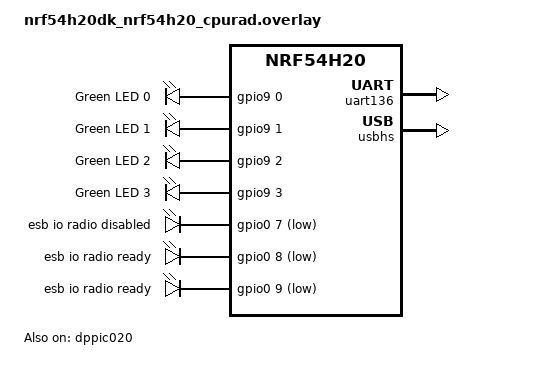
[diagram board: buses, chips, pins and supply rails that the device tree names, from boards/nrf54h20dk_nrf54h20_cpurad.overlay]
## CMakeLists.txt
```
#
# Copyright (c) 2018 Nordic Semiconductor
#
# SPDX-License-Identifier: LicenseRef-Nordic-5-Clause
#
cmake_minimum_required(VERSION 3.20.0)

find_package(Zephyr REQUIRED HINTS $ENV{ZEPHYR_BASE})
project(NONE)

include(${ZEPHYR_BASE}/samples/subsys/usb/common/common.cmake)

FILE(GLOB app_sources src/*.c)
# NORDIC SDK APP START
target_sources(app PRIVATE ${app_sources})

zephyr_code_relocate(FILES src/testme.c LOCATION MYTCM NOKEEP)
zephyr_code_relocate(FILES src/main.c LOCATION MYTCM NOKEEP)

# NORDIC SDK APP END
```

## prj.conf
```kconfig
#
# Copyright (c) 2019 Nordic Semiconductor ASA
#
# SPDX-License-Identifier: LicenseRef-Nordic-5-Clause
#
CONFIG_NCS_SAMPLES_DEFAULTS=y
CONFIG_ESB=y
CONFIG_DK_LIBRARY=y
CONFIG_ESB_FAST_SWITCHING=y
CONFIG_ESB_FAST_CHANNEL_SWITCHING=y
CONFIG_ESB_PRX_TX_LENGTH=5


# USB STACK NEXT
CONFIG_USB_DEVICE_STACK_NEXT=y
CONFIG_USBD_HID_SUPPORT=y
#CONFIG_USBD_HID_IN_BUF_COUNT=1024
CONFIG_USBD_HID_IN_BUF_COUNT=256
CONFIG_USB_DEVICE_INITIALIZE_AT_BOOT=n
CONFIG_USBD_LOG_LEVEL_WRN=y
CONFIG_USBD_HID_LOG_LEVEL_WRN=y
CONFIG_UDC_DRIVER_LOG_LEVEL_WRN=y
CONFIG_UDC_BUF_COUNT=64
CONFIG_USBD_MAX_UDC_MSG=256

CONFIG_SAMPLE_USBD_PID=0x0006
CONFIG_SAMPLE_USBD_MANUFACTURER="Nordic Semiconductor"
CONFIG_SAMPLE_USBD_PRODUCT="nRF54LM20 HID"
CONFIG_NRFS_VBUS_DETECTOR_SERVICE_ENABLED=y

CONFIG_HWINFO=y
CONFIG_CLOCK_CONTROL=y
CONFIG_SPIN_VALIDATE=n
CONFIG_PM=n

# CPU usage
#CONFIG_LOG_BACKEND_UART=y
##CONFIG_LOG_BACKEND_RTT=y
#CONFIG_THREAD_ANALYZER=y
##CONFIG_THREAD_ANALYZER_USE_PRINTK=y
#CONFIG_THREAD_ANALYZER_AUTO=y
#CONFIG_THREAD_ANALYZER_AUTO_INTERVAL=5
#CONFIG_THREAD_NAME=y
#CONFIG_LOG_BUFFER_SIZE=12048
CONFIG_SPEED_OPTIMIZATIONS=y
CONFIG_ISR_TABLES_LOCAL_DECLARATION=y
CONFIG_LTO=y
```

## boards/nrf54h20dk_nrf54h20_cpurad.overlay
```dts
/*
 * Copyright (c) 2024 Nordic Semiconductor ASA
 *
 * SPDX-License-Identifier: LicenseRef-Nordic-5-Clause
 */

 / {
	leds {
		compatible = "gpio-leds";

		led0: led_0 {
			gpios = < &gpio9 0 GPIO_ACTIVE_HIGH >;
			label = "Green LED 0";
		};

		led1: led_1 {
			gpios = < &gpio9 1 GPIO_ACTIVE_HIGH >;
			label = "Green LED 1";
		};

		led2: led_2 {
			gpios = < &gpio9 2 GPIO_ACTIVE_HIGH >;
			label = "Green LED 2";
		};

		led3: led_3 {
			gpios = < &gpio9 3 GPIO_ACTIVE_HIGH >;
			label = "Green LED 3";
		};
	};

	aliases {
		led0 = &led0;
		led1 = &led1;
		led2 = &led2;
		led3 = &led3;
	};

	chosen {
		zephyr,console = &uart136;
	};

	hid_dev_0: hid_dev_0 {
		compatible = "zephyr,hid-device";
		interface-name = "HID0";
		protocol-code = "mouse";
		in-polling-period-us = <125>;
		in-report-size = <256>;
	};

	esb_gpio {
		compatible = "gpio-leds";
		esb_io_radio_disabled: esb-io-radio-disabled {
			gpios = <&gpio0 7 GPIO_ACTIVE_LOW>;
			label = "esb io radio disabled";
		};
		esb_io_radio_rx: esb-io-radio-rx {
			gpios = <&gpio0 8 GPIO_ACTIVE_LOW>;
			label = "esb io radio ready";
		};
		esb_io_radio_tx: esb-io-radio-tx {
			gpios = <&gpio0 9 GPIO_ACTIVE_LOW>;
			label = "esb io radio ready";
		};
	};

};

&gpio9 {
	status = "okay";
};

&gpio0 {
	status = "okay";
};

&gpiote130 {
	owned-channels = <0 1 2 3 4 5 6 7>;
	status = "okay";
};

&uart136 {
	status = "okay";
	memory-regions = <&cpurad_dma_region>;
};

&uart135 {
	status = "disabled";
};

&dppic020 {
	status = "okay";
	source-channels = < 0 1 2 3 4 5 >;
	sink-channels = < 6 7 8 9 10 11 >;
};
zephyr_udc0: &usbhs {
	status = "okay";
};
```

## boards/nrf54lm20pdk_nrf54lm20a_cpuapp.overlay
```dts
/*
 * Copyright (c) 2025 Nordic Semiconductor ASA
 *
 * SPDX-License-Identifier: LicenseRef-Nordic-5-Clause
 */

 / {
	hid_dev_0: hid_dev_0 {
		compatible = "zephyr,hid-device";
		//interface-name = "HID0";
		protocol-code = "mouse";
		in-polling-period-us = <125>;
		in-report-size = <256>;
	};
};
```

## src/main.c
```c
/*
 * Copyright (c) 2018 Nordic Semiconductor ASA
 *
 * SPDX-License-Identifier: LicenseRef-Nordic-5-Clause
 */
#include <zephyr/device.h>
#include <zephyr/devicetree.h>
#include <zephyr/drivers/clock_control.h>
#include <zephyr/drivers/clock_control/nrf_clock_control.h>
#if defined(NRF54L15_XXAA)
#include <hal/nrf_clock.h>
#endif /* defined(NRF54L15_XXAA) */
#include <zephyr/drivers/timer/nrf_grtc_timer.h>
#include <zephyr/usb/usb_device.h>
#include <zephyr/usb/usbd.h>
// #include <zephyr/usb/class/usb_hid.h>
#include <zephyr/usb/class/usbd_hid.h>
#include <zephyr/drivers/gpio.h>
#include <zephyr/irq.h>
#include <zephyr/logging/log.h>
#include <nrf.h>
#include <esb.h>
#include <zephyr/kernel.h>
#include <zephyr/types.h>
#include <dk_buttons_and_leds.h>
#if defined(CONFIG_CLOCK_CONTROL_NRF2)
#include <hal/nrf_lrcconf.h>
#endif
#include <nrf_erratas.h>
#if NRF54L_ERRATA_20_PRESENT
#include <hal/nrf_power.h>
#endif /* NRF54L_ERRATA_20_PRESENT */

#include <sample_usbd.h>

LOG_MODULE_REGISTER(esb_prx, CONFIG_ESB_PRX_APP_LOG_LEVEL);

/* Print cycle time, in microseconds */
#define PRINT_CYCLE     1000000

struct print_msg {
	uint32_t rep_cnt;
	uint32_t drop_cnt;
};

#define USB_HID_MSG_REPORT      0
#define USB_HID_MSG_TIMER       1

#define _USB_HID_BUF_ALIGN (UDC_BUF_ALIGN)
#define _USB_HID_BUF_SIZE  (ROUND_UP(4, UDC_BUF_GRANULARITY))

struct usb_hid_msg {
	uint32_t type;
	uint8_t report[4];//_USB_HID_BUF_SIZE];
}__aligned(_USB_HID_BUF_ALIGN);

static const uint8_t hid_report_desc[] = HID_MOUSE_REPORT_DESC(2);

static atomic_t usb_state = ATOMIC_INIT(0);
static K_SEM_DEFINE(report_sem, 0, 1);

static struct esb_payload rx_payload;
static struct esb_payload tx_payload = ESB_CREATE_PAYLOAD(0,
	0x10, 0x11, 0x12, 0x13, 0x14, 0x15, 0x16, 0x17);

K_MSGQ_DEFINE(print_msgq,
	      sizeof(struct print_msg),
	      1,
	      sizeof(uint32_t));

K_MSGQ_DEFINE(usb_hid_msgq,
	      sizeof(struct usb_hid_msg),
	      32,
	      _USB_HID_BUF_ALIGN);

static struct k_thread print_thread;

static K_THREAD_STACK_DEFINE(print_stack, 512);

static int32_t timer_chan;
static uint64_t timer_tick;

static int timer_target_set(void);


/* doc device msg-cb start */
static void msg_cb(struct usbd_context *const usbd_ctx,
		   const struct usbd_msg *const msg)
{
	LOG_INF("USBD message: %s", usbd_msg_type_string(msg->type));

	if (msg->type == USBD_MSG_CONFIGURATION) {
		LOG_INF("\tConfiguration value %d", msg->status);
	}

	if (usbd_can_detect_vbus(usbd_ctx)) {
		if (msg->type == USBD_MSG_VBUS_READY) {
			if (usbd_enable(usbd_ctx)) {
				LOG_ERR("Failed to enable device support");
			}
		}

		if (msg->type == USBD_MSG_VBUS_REMOVED) {
			if (usbd_disable(usbd_ctx)) {
				LOG_ERR("Failed to disable device support");
			}
		}
	}
}

void event_handler(struct esb_evt const *event)
{
	int err;

	switch (event->evt_id) {
	case ESB_EVENT_TX_SUCCESS:
		break;
	case ESB_EVENT_TX_FAILED:
		break;
	case ESB_EVENT_RX_RECEIVED:
		while (!esb_read_rx_payload(&rx_payload)) {
			struct usb_hid_msg msg;

			if (rx_payload.length >= sizeof(msg.report) &&
			    atomic_test_bit(&usb_state, 0)) {
				msg.type = USB_HID_MSG_REPORT;
				memcpy(msg.report,
				       rx_payload.data,
				       sizeof(msg.report));
				err = k_msgq_put(&usb_hid_msgq, &msg, K_NO_WAIT);
				if (err) {
				}
			}

			err = esb_write_payload(&tx_payload);
		}
        break;
	}
}

#if defined(CONFIG_CLOCK_CONTROL_NRF)
int clocks_start(void)
{
	int err;
	int res;
	struct onoff_manager *clk_mgr;
	struct onoff_client clk_cli;

	clk_mgr = z_nrf_clock_control_get_onoff(CLOCK_CONTROL_NRF_SUBSYS_HF);
	if (!clk_mgr) {
		LOG_ERR("Unable to get the Clock manager");
		return -ENXIO;
	}

	sys_notify_init_spinwait(&clk_cli.notify);

	err = onoff_request(clk_mgr, &clk_cli);
	if (err < 0) {
		LOG_ERR("Clock request failed: %d", err);
		return err;
	}

	do {
		err = sys_notify_fetch_result(&clk_cli.notify, &res);
		if (!err && res) {
			LOG_ERR("Clock could not be started: %d", res);
			return res;
		}
	} while (err);

#if NRF54L_ERRATA_20_PRESENT
	if (nrf54l_errata_20()) {
		nrf_power_task_trigger(NRF_POWER, NRF_POWER_TASK_CONSTLAT);
	}
#endif /* NRF54L_ERRATA_20_PRESENT */

	LOG_DBG("HF clock started");
	return 0;
}

#elif defined(CONFIG_CLOCK_CONTROL_NRF2)

int clocks_start(void)
{
	int err;
	int res;
	const struct device *radio_clk_dev =
		DEVICE_DT_GET_OR_NULL(DT_CLOCKS_CTLR(DT_NODELABEL(radio)));
	struct onoff_client radio_cli;

	/** Keep radio domain powered all the time to reduce latency. */
	nrf_lrcconf_poweron_force_set(NRF_LRCCONF010, NRF_LRCCONF_POWER_DOMAIN_1, true);

	sys_notify_init_spinwait(&radio_cli.notify);

	err = nrf_clock_control_request(radio_clk_dev, NULL, &radio_cli);

	do {
		err = sys_notify_fetch_result(&radio_cli.notify, &res);
		if (!err && res) {
			LOG_ERR("Clock could not be started: %d", res);
			return res;
		}
	} while (err == -EAGAIN);

	nrf_lrcconf_clock_always_run_force_set(NRF_LRCCONF000, 0, true);
	nrf_lrcconf_task_trigger(NRF_LRCCONF000, NRF_LRCCONF_TASK_CLKSTART_0);

	LOG_DBG("HF clock started");

	return 0;
}

#else
BUILD_ASSERT(false, "No Clock Control driver");
#endif /* defined(CONFIG_CLOCK_CONTROL_NRF2) */

int esb_initialize(void)
{
	int err;
	/* These are arbitrary default addresses. In end user products
	 * different addresses should be used for each set of devices.
	 */
	uint8_t base_addr_0[4] = {0xE7, 0xE7, 0xE7, 0xE7};
	uint8_t base_addr_1[4] = {0xC2, 0xC2, 0xC2, 0xC2};
	uint8_t addr_prefix[8] = {0xE7, 0xC2, 0xC3, 0xC4, 0xC5, 0xC6, 0xC7, 0xC8};

	struct esb_config config = ESB_DEFAULT_CONFIG;

	config.protocol = ESB_PROTOCOL_ESB_DPL;
	config.bitrate = ESB_BITRATE_4MBPS;
	config.mode = ESB_MODE_PRX;
	config.event_handler = event_handler;
	config.crc = ESB_CRC_16BIT;

	config.selective_auto_ack = false;
	if (IS_ENABLED(CONFIG_ESB_FAST_SWITCHING)) {
		config.use_fast_ramp_up = true;
	}

	err = esb_init(&config);
	if (err) {
		return err;
	}

	err = esb_set_base_address_0(base_addr_0);
	if (err) {
		return err;
	}

	err = esb_set_base_address_1(base_addr_1);
	if (err) {
		return err;
	}

	err = esb_set_prefixes(addr_prefix, ARRAY_SIZE(addr_prefix));
	if (err) {
		return err;
	}

	err = esb_set_rf_channel(86);
	if (err) {
		return err;
	}

	err = esb_set_tx_power(0);
	if (err) {
		LOG_ERR("Cannot set TX power");
		return err;
	}

	return 0;
}

static void timer_compare_handler(int32_t chan_id,
				  uint64_t expire_time,
				  void *user_data)
{
	timer_target_set();

	struct usb_hid_msg  msg;
	int err;

	msg.type = USB_HID_MSG_TIMER;
	err = k_msgq_put(&usb_hid_msgq, &msg, K_NO_WAIT);
	if (err) {
		LOG_ERR("Cannot put TIMER count to message queue");
	}
}

static int timer_target_set(void)
{
	int err;

	timer_tick += PRINT_CYCLE; // TODO: convert microseconds to timer tick

	err = z_nrf_grtc_timer_set(timer_chan,
				   timer_tick,
				   timer_compare_handler,
				   NULL);

	return err;
}

static void print_main(void *p1, void *p2, void *p3)
{
	struct print_msg msg;

	/* Process message queue */
	while (!k_msgq_get(&print_msgq, &msg, K_FOREVER)) {
		LOG_INF("Sent %u HID reports. Dropped %u reports.",
			msg.rep_cnt, msg.drop_cnt);
	}
}

static void status_cb(enum usb_dc_status_code status, const uint8_t *param)
{
	if (status == USB_DC_CONFIGURED) {
		atomic_set_bit(&usb_state, 0);
	} else {
		atomic_clear_bit(&usb_state, 0);
	}
}

static uint32_t idle_duration;

void user_sof(const struct device *dev)
{
	// gpio_pin_toggle(led3.port, led3.pin);
	k_sem_give(&report_sem);
}

static void iface_ready_next(const struct device *dev, const bool ready)
{
	return;
}

static int get_report_next(const struct device *dev, const uint8_t type, const uint8_t id,
			   const uint16_t len, uint8_t *const buf)
{
	return len;
}

static int set_report_next(const struct device *dev, const uint8_t type, const uint8_t id,
			   const uint16_t len, const uint8_t *const buf)
{
	return len;
}
static void set_idle_next(const struct device *dev, const uint8_t id, const uint32_t duration)
{
	idle_duration = duration;
}

static uint32_t get_idle_next(const struct device *dev, const uint8_t id)
{
	return idle_duration;
}

static void report_sent_cb_next(const struct device *dev)
{
	return;
}
static void protocol_change(const struct device *dev, uint8_t protocol)
{
	return;
}
#if defined(CONFIG_USB_DEVICE_STACK_NEXT)
static int enable_usb_device_next(void)
{
	struct usbd_context *sample_usbd;
	int err;

	sample_usbd = sample_usbd_init_device(msg_cb);
	if (sample_usbd == NULL) {
		LOG_ERR("Failed to initialize USB device");
		return -ENODEV;
	}

	if (!usbd_can_detect_vbus(sample_usbd)) {
		/* doc device enable start */
		err = usbd_enable(sample_usbd);
		if (err) {
			LOG_ERR("Failed to enable device support");
			return err;
		}
		/* doc device enable end */
	}


#if 0
	err = usbd_enable(sample_usbd);
	if (err) {
		LOG_ERR("Failed to enable device support");
		return err;
	}
#endif
	LOG_DBG("USB device support enabled");

	return 0;
}
#endif /* IS_ENABLED(CONFIG_USB_DEVICE_STACK_NEXT) */

static void usb_hid_main(void)
{
	int err;
	const struct device *hid_dev;
	struct usb_hid_msg msg __aligned(_USB_HID_BUF_ALIGN);
	static const struct hid_device_ops my_ops = {
		.iface_ready = iface_ready_next,
		.get_report = get_report_next,
		.set_report = set_report_next,
		.set_idle = set_idle_next,
		.get_idle = get_idle_next,
		.set_protocol = protocol_change,
		.input_report_done = report_sent_cb_next,
		.sof = user_sof,

	};

#if defined(CONFIG_USB_DEVICE_STACK_NEXT)
	hid_dev = DEVICE_DT_GET_ONE(zephyr_hid_device);
#else
	hid_dev = device_get_binding("HID_0");
#endif

	// usb_hid_register_device(hid_dev,
	// 			hid_report_desc, sizeof(hid_report_desc),
	// 			&my_ops);

	hid_device_register(hid_dev, hid_report_desc, sizeof(hid_report_desc), &my_ops);

	usb_hid_init(hid_dev);

#if defined(CONFIG_USB_DEVICE_STACK_NEXT)
	err = enable_usb_device_next();
#else
	err = usb_enable(status_cb);
#endif
	if (err) {
		LOG_ERR("Failed to enable USB");
		return;
	}

	uint32_t hid_rep_cnt = 0;
	uint32_t hid_drop_cnt = 0;
	struct print_msg prt_msg;
	uint32_t bytes_ret;

	atomic_set_bit(&usb_state, 0);

	/* Process message queue */
	while (!k_msgq_get(&usb_hid_msgq, &msg, K_FOREVER)) {
		switch(msg.type) {
		case USB_HID_MSG_REPORT:
			// k_sem_take(&report_sem, K_FOREVER);
			// {
			UDC_STATIC_BUF_DEFINE(report, 4);
			memcpy(report, msg.report, 4);
			if (atomic_test_bit(&usb_state, 0)) {
				err = hid_int_ep_write(hid_dev,
						       report,
						       4,
						       &bytes_ret);

				if (!err && bytes_ret == sizeof(msg.report)) {
					hid_rep_cnt++;
				} else {
					hid_drop_cnt++;
				}
			}
			break;
		case USB_HID_MSG_TIMER:
			prt_msg.rep_cnt = hid_rep_cnt;
			hid_rep_cnt = 0;
			prt_msg.drop_cnt = hid_drop_cnt;
			hid_drop_cnt = 0;
			// err = k_msgq_put(&print_msgq, &prt_msg, K_NO_WAIT);
			// if (err) {
			// 	LOG_ERR("Cannot put PRX statistics to message queue");
			// }
			break;
		default:
			break;
		}
	}
}

int main(void)
{
	int err;

	LOG_INF("Enhanced ShockBurst prx sample");

	err = clocks_start();
	if (err) {
		return 0;
	}

	// err = gpio_pin_configure_dt(&led3, GPIO_OUTPUT);
	if (err < 0) {
		LOG_ERR("Failed to configure the LED pin, error: %d", err);
		return 0;
	}
	err = esb_initialize();
	if (err) {
		LOG_ERR("ESB initialization failed, err %d", err);
		return 0;
	}

	k_thread_create(&print_thread,
			print_stack,
			K_THREAD_STACK_SIZEOF(print_stack),
			print_main,
			NULL,
			NULL,
			NULL,
			K_LOWEST_APPLICATION_THREAD_PRIO,
			0,
			K_NO_WAIT);

	timer_chan = z_nrf_grtc_timer_chan_alloc();
	if (timer_chan < 0) {
		LOG_ERR("Cannot get a timer channel");
		return 0;
	}

	LOG_INF("Initialization complete");
	tx_payload.length = CONFIG_ESB_PRX_TX_LENGTH;
	err = esb_write_payload(&tx_payload);
	if (err) {
		LOG_ERR("Write payload, err %d", err);
		return 0;
	}

	LOG_INF("Print packet counts every %u.%02u seconds",
		PRINT_CYCLE / USEC_PER_SEC,
		(PRINT_CYCLE % USEC_PER_SEC) * 100 / USEC_PER_SEC);

	LOG_INF("Setting up for packet receiption");

	timer_tick = z_nrf_grtc_timer_read();
	timer_target_set();

	err = esb_start_rx();
	if (err) {
		LOG_ERR("RX setup failed, err %d", err);
		return 0;
	}

	usb_hid_main();

	LOG_WRN("main loop exited");

	/* return to idle thread */
	return 0;
}
```
